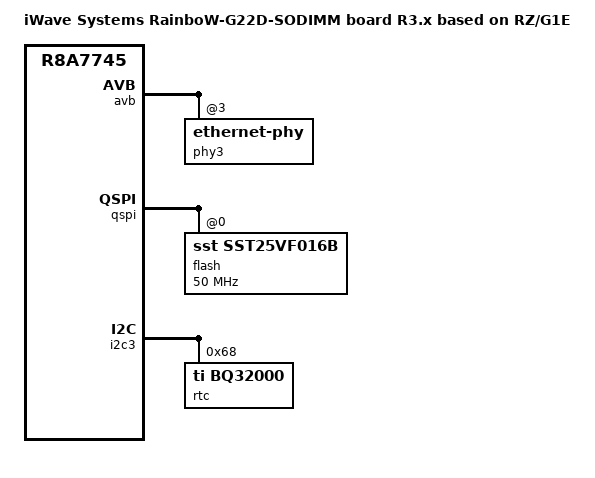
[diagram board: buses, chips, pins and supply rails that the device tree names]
/*
 * Device Tree Source for the iWave-RZG1E SODIMM carrier R4.0 board
 *
 * Copyright (C) 2017 Renesas Electronics Corp.
 *
 * This file is licensed under the terms of the GNU General Public License
 * version 2.  This program is licensed "as is" without any warranty of any
 * kind, whether express or implied.
 */

/*
 * SSI-SGTL5000
 *
 * This command is required when Playback/Capture
 *
 *      amixer set "DVC Out" 100%
 *      amixer set "DVC In" 100%
 *
 * You can use Mute
 *
 *      amixer set "DVC Out Mute" on
 *      amixer set "DVC In Mute" on
 *
 * You can use Volume Ramp
 *
 *      amixer set "DVC Out Ramp Up Rate"   "0.125 dB/64 steps"
 *      amixer set "DVC Out Ramp Down Rate" "0.125 dB/512 steps"
 *      amixer set "DVC Out Ramp" on
 *      aplay xxx.wav &
 *      amixer set "DVC Out"  80%  // Volume Down
 *      amixer set "DVC Out" 100%  // Volume Up
 */

#include "r8a7745-iwg22d-sodimm.dts"

/ {
	model = "iWave Systems RainboW-G22D-SODIMM board R3.x based on RZ/G1E";
	compatible = "iwave,g22d", "iwave,g22m", "renesas,r8a7745";
};

&avb {
	/*
	 * On some older versions of the platform (before R4.0) the phy address
	 * may be 1 or 3. The address is fixed to 3 for R4.0 onwards.
	 * Remove <reg> property to activate PHY autoscan function.
	 */
	phy3: ethernet-phy@3 {
		/delete-property/ reg;
	};
};

&qspi {
	/* WARNING - This device contains the bootloader. Handle with care. */
	flash: flash@0 {
		compatible = "sst,sst25vf016b", "jedec,spi-nor";
		spi-max-frequency = <50000000>;
	};
};

&i2c3 {
	/delete-node/ rtc@51;
	rtc@68 {
		compatible = "ti,bq32000";
		reg = <0x68>;
	};
};
